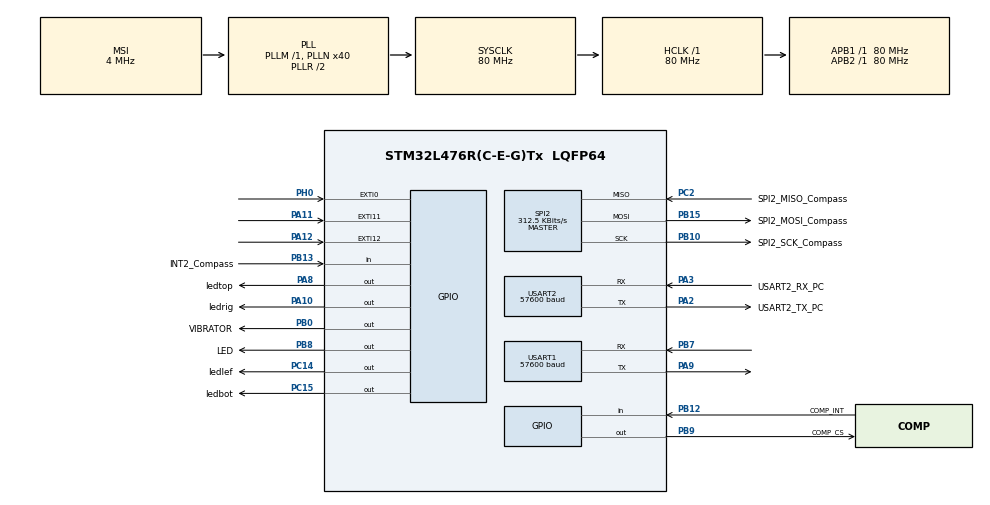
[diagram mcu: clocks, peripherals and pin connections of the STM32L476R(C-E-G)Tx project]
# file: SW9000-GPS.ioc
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FREERTOS.Tasks01=defaultTask,0,256,StartDefaultTask,Default;rLEDTask,0,128,StartRLEDTask,Default;lLEDTask,0,128,StartLLEDTask,Default;bLEDTask,0,128,StartBLEDTask,Default;tLEDTask,0,128,StartTLEDTask,Default
FREERTOS.configMINIMAL_STACK_SIZE=128
FREERTOS.configTOTAL_HEAP_SIZE=4000
Mcu.Family=STM32L4
Mcu.Name=STM32L476R(C-E-G)Tx
Mcu.Package=LQFP64
NVIC.PriorityGroup=NVIC_PRIORITYGROUP_4
NVIC.TIM1_UP_TIM16_IRQn=true\:0\:0\:false\:false\:true
NVIC.TimeBase=TIM1_UP_TIM16_IRQn
NVIC.TimeBaseIP=TIM1
PA10.GPIO_Label=ledrig
PA10.Signal=GPIO_Output
PA11.Signal=GPXTI11
PA12.Signal=GPXTI12
PA13.Mode=Serial-Wire
PA13.Signal=SYS_JTMS-SWDIO
PA14.Mode=Serial-Wire
PA14.Signal=SYS_JTCK-SWCLK
PA2.GPIO_Label=USART2_TX_PC
PA2.Mode=Asynchronous
PA2.Signal=USART2_TX
PA3.GPIO_Label=USART2_RX_PC
PA3.Mode=Asynchronous
PA3.Signal=USART2_RX
PA8.GPIO_Label=ledtop
PA8.Signal=GPIO_Output
PA9.Mode=Asynchronous
PA9.Signal=USART1_TX
PB0.GPIO_Label=VIBRATOR
PB0.Signal=GPIO_Output
PB10.GPIO_Label=SPI2_SCK_Compass
PB10.Mode=Full_Duplex_Master
PB10.Signal=SPI2_SCK
PB12.GPIO_Label=COMP_INT
PB12.Signal=GPIO_Input
PB13.GPIO_Label=INT2_Compass
PB13.Signal=GPIO_Input
PB15.GPIO_Label=SPI2_MOSI_Compass
PB15.Mode=Full_Duplex_Master
PB15.Signal=SPI2_MOSI
PB7.Mode=Asynchronous
PB7.Signal=USART1_RX
PB8.GPIO_Label=LED
PB8.Signal=GPIO_Output
PB9.GPIO_Label=COMP_CS
PB9.Signal=GPIO_Output
PC13.Mode=SYS-WakeUp2
PC13.Signal=SYS_WKUP2
PC14/OSC32_IN.GPIO_Label=ledlef
PC14/OSC32_IN.Signal=GPIO_Output
PC15/OSC32_OUT.GPIO_Label=ledbot
PC15/OSC32_OUT.Signal=GPIO_Output
PC2.GPIO_Label=SPI2_MISO_Compass
PC2.Mode=Full_Duplex_Master
PC2.Signal=SPI2_MISO
PH0/OSC_IN.Signal=GPXTI0
ProjectManager.HeapSize=0x800
ProjectManager.StackSize=0x400
ProjectManager.TargetToolchain=EWARM
RCC.ADCFreq_Value=32000000
RCC.AHBFreq_Value=80000000
RCC.APB1Freq_Value=80000000
RCC.APB1TimFreq_Value=80000000
RCC.APB2Freq_Value=80000000
RCC.APB2TimFreq_Value=80000000
RCC.CortexFreq_Value=80000000
RCC.HCLKFreq_Value=80000000
RCC.HSE_VALUE=8000000
RCC.HSI_VALUE=16000000
RCC.LSE_VALUE=32768
RCC.MSI_VALUE=4000000
RCC.PLLN=40
RCC.PLLSAI1N=16
RCC.SYSCLKFreq_VALUE=80000000
RCC.SYSCLKSource=RCC_SYSCLKSOURCE_PLLCLK
RCC.USBFreq_Value=32000000
RCC.VCOOutputFreq_Value=160000000
SPI2.BaudRatePrescaler=SPI_BAUDRATEPRESCALER_256
SPI2.CLKPhase=SPI_PHASE_2EDGE
SPI2.CLKPolarity=SPI_POLARITY_HIGH
SPI2.CalculateBaudRate=312.5 KBits/s
SPI2.DataSize=SPI_DATASIZE_8BIT
SPI2.Mode=SPI_MODE_MASTER
USART1.BaudRate=57600
USART1.WordLength=UART_WORDLENGTH_8B
USART2.BaudRate=57600
USART2.WordLength=UART_WORDLENGTH_8B
VP_FREERTOS_VS_ENABLE.Mode=Enabled
VP_SYS_VS_tim1.Mode=TIM1
board=SW9000

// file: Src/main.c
/**
  ******************************************************************************
  * File Name          : main.c
  * Description        : Main program body
  ******************************************************************************
  *
  * COPYRIGHT(c) 2016 STMicroelectronics
  *
  * Redistribution and use in source and binary forms, with or without modification,
  * are permitted provided that the following conditions are met:
  *   1. Redistributions of source code must retain the above copyright notice,
  *      this list of conditions and the following disclaimer.
  *   2. Redistributions in binary form must reproduce the above copyright notice,
  *      this list of conditions and the following disclaimer in the documentation
  *      and/or other materials provided with the distribution.
  *   3. Neither the name of STMicroelectronics nor the names of its contributors
  *      may be used to endorse or promote products derived from this software
  *      without specific prior written permission.
  *
  * THIS SOFTWARE IS PROVIDED BY THE COPYRIGHT HOLDERS AND CONTRIBUTORS "AS IS"
  * AND ANY EXPRESS OR IMPLIED WARRANTIES, INCLUDING, BUT NOT LIMITED TO, THE
  * IMPLIED WARRANTIES OF MERCHANTABILITY AND FITNESS FOR A PARTICULAR PURPOSE ARE
  * DISCLAIMED. IN NO EVENT SHALL THE COPYRIGHT HOLDER OR CONTRIBUTORS BE LIABLE
  * FOR ANY DIRECT, INDIRECT, INCIDENTAL, SPECIAL, EXEMPLARY, OR CONSEQUENTIAL
  * DAMAGES (INCLUDING, BUT NOT LIMITED TO, PROCUREMENT OF SUBSTITUTE GOODS OR
  * SERVICES; LOSS OF USE, DATA, OR PROFITS; OR BUSINESS INTERRUPTION) HOWEVER
  * CAUSED AND ON ANY THEORY OF LIABILITY, WHETHER IN CONTRACT, STRICT LIABILITY,
  * OR TORT (INCLUDING NEGLIGENCE OR OTHERWISE) ARISING IN ANY WAY OUT OF THE USE
  * OF THIS SOFTWARE, EVEN IF ADVISED OF THE POSSIBILITY OF SUCH DAMAGE.
  *
  ******************************************************************************
  */
#include "stm32l4xx_hal.h"
#include "cmsis_os.h"

SPI_HandleTypeDef hspi2;

UART_HandleTypeDef huart1;
UART_HandleTypeDef huart2;

osThreadId defaultTaskHandle;
osThreadId rLEDTaskHandle;
osThreadId lLEDTaskHandle;
osThreadId bLEDTaskHandle;
osThreadId tLEDTaskHandle;

/* USER CODE BEGIN PV */
/* Private variables ---------------------------------------------------------*/
/* USER CODE END PV */

void SystemClock_Config(void);
static void MX_GPIO_Init(void);
static void MX_USART2_UART_Init(void);
static void MX_SPI2_Init(void);
static void MX_USART1_UART_Init(void);
void StartDefaultTask(void const * argument);
void StartRLEDTask(void const * argument);
void StartLLEDTask(void const * argument);
void StartBLEDTask(void const * argument);
void StartTLEDTask(void const * argument);

/* USER CODE BEGIN PFP */
/* Private function prototypes -----------------------------------------------*/
/* USER CODE END PFP */

int main(void)
{

  /* MCU Configuration----------------------------------------------------------*/

  /* Reset of all peripherals, Initializes the Flash interface and the Systick. */
  HAL_Init();

  /* Configure the system clock */
  SystemClock_Config();

  /* Initialize all configured peripherals */
  MX_GPIO_Init();
  MX_USART2_UART_Init();
  MX_SPI2_Init();
  MX_USART1_UART_Init();

  /* Create the thread(s) */
  /* definition and creation of defaultTask */
  osThreadDef(defaultTask, StartDefaultTask, osPriorityNormal, 0, 256);
  defaultTaskHandle = osThreadCreate(osThread(defaultTask), NULL);

  /* definition and creation of rLEDTask */
  osThreadDef(rLEDTask, StartRLEDTask, osPriorityNormal, 0, 128);
  rLEDTaskHandle = osThreadCreate(osThread(rLEDTask), NULL);

  /* definition and creation of lLEDTask */
  osThreadDef(lLEDTask, StartLLEDTask, osPriorityNormal, 0, 128);
  lLEDTaskHandle = osThreadCreate(osThread(lLEDTask), NULL);

  /* definition and creation of bLEDTask */
  osThreadDef(bLEDTask, StartBLEDTask, osPriorityNormal, 0, 128);
  bLEDTaskHandle = osThreadCreate(osThread(bLEDTask), NULL);

  /* definition and creation of tLEDTask */
  osThreadDef(tLEDTask, StartTLEDTask, osPriorityNormal, 0, 128);
  tLEDTaskHandle = osThreadCreate(osThread(tLEDTask), NULL);

  /* Start scheduler */
  osKernelStart();

  /* We should never get here as control is now taken by the scheduler */

  /* Infinite loop */
  while (1)
  {

  }

}

/** System Clock Configuration
*/
void SystemClock_Config(void)
{

  RCC_OscInitTypeDef RCC_OscInitStruct;
  RCC_ClkInitTypeDef RCC_ClkInitStruct;
  RCC_PeriphCLKInitTypeDef PeriphClkInit;

  RCC_OscInitStruct.OscillatorType = RCC_OSCILLATORTYPE_MSI;
  RCC_OscInitStruct.MSIState = RCC_MSI_ON;
  RCC_OscInitStruct.MSICalibrationValue = 0;
  RCC_OscInitStruct.MSIClockRange = RCC_MSIRANGE_6;
  RCC_OscInitStruct.PLL.PLLState = RCC_PLL_ON;
  RCC_OscInitStruct.PLL.PLLSource = RCC_PLLSOURCE_MSI;
  RCC_OscInitStruct.PLL.PLLM = 1;
  RCC_OscInitStruct.PLL.PLLN = 40;
  RCC_OscInitStruct.PLL.PLLP = RCC_PLLP_DIV7;
  RCC_OscInitStruct.PLL.PLLQ = RCC_PLLQ_DIV2;
  RCC_OscInitStruct.PLL.PLLR = RCC_PLLR_DIV2;
  HAL_RCC_OscConfig(&RCC_OscInitStruct);

  RCC_ClkInitStruct.ClockType = RCC_CLOCKTYPE_HCLK|RCC_CLOCKTYPE_SYSCLK
                              |RCC_CLOCKTYPE_PCLK1|RCC_CLOCKTYPE_PCLK2;
  RCC_ClkInitStruct.SYSCLKSource = RCC_SYSCLKSOURCE_PLLCLK;
  RCC_ClkInitStruct.AHBCLKDivider = RCC_SYSCLK_DIV1;
  RCC_ClkInitStruct.APB1CLKDivider = RCC_HCLK_DIV1;
  RCC_ClkInitStruct.APB2CLKDivider = RCC_HCLK_DIV1;
  HAL_RCC_ClockConfig(&RCC_ClkInitStruct, FLASH_LATENCY_4);

  PeriphClkInit.PeriphClockSelection = RCC_PERIPHCLK_USART1|RCC_PERIPHCLK_USART2;
  PeriphClkInit.Usart1ClockSelection = RCC_USART1CLKSOURCE_PCLK2;
  PeriphClkInit.Usart2ClockSelection = RCC_USART2CLKSOURCE_PCLK1;
  HAL_RCCEx_PeriphCLKConfig(&PeriphClkInit);

  __HAL_RCC_PWR_CLK_ENABLE();

  HAL_PWREx_ControlVoltageScaling(PWR_REGULATOR_VOLTAGE_SCALE1);

  HAL_SYSTICK_Config(HAL_RCC_GetHCLKFreq()/1000);

  HAL_SYSTICK_CLKSourceConfig(SYSTICK_CLKSOURCE_HCLK);

  /* SysTick_IRQn interrupt configuration */
  HAL_NVIC_SetPriority(SysTick_IRQn, 15, 0);
}

/* SPI2 init function */
void MX_SPI2_Init(void)
{

  hspi2.Instance = SPI2;
  hspi2.Init.Mode = SPI_MODE_MASTER;
  hspi2.Init.Direction = SPI_DIRECTION_2LINES;
  hspi2.Init.DataSize = SPI_DATASIZE_8BIT;
  hspi2.Init.CLKPolarity = SPI_POLARITY_HIGH;
  hspi2.Init.CLKPhase = SPI_PHASE_2EDGE;
  hspi2.Init.NSS = SPI_NSS_SOFT;
  hspi2.Init.BaudRatePrescaler = SPI_BAUDRATEPRESCALER_256;
  hspi2.Init.FirstBit = SPI_FIRSTBIT_MSB;
  hspi2.Init.TIMode = SPI_TIMODE_DISABLE;
  hspi2.Init.CRCCalculation = SPI_CRCCALCULATION_DISABLE;
  hspi2.Init.CRCPolynomial = 7;
  hspi2.Init.CRCLength = SPI_CRC_LENGTH_DATASIZE;
  hspi2.Init.NSSPMode = SPI_NSS_PULSE_DISABLE;
  HAL_SPI_Init(&hspi2);

}

/* USART1 init function */
void MX_USART1_UART_Init(void)
{

  huart1.Instance = USART1;
  huart1.Init.BaudRate = 57600;
  huart1.Init.WordLength = UART_WORDLENGTH_8B;
  huart1.Init.StopBits = UART_STOPBITS_1;
  huart1.Init.Parity = UART_PARITY_NONE;
  huart1.Init.Mode = UART_MODE_TX_RX;
  huart1.Init.HwFlowCtl = UART_HWCONTROL_NONE;
  huart1.Init.OverSampling = UART_OVERSAMPLING_16;
  huart1.Init.OneBitSampling = UART_ONE_BIT_SAMPLE_DISABLE;
  huart1.AdvancedInit.AdvFeatureInit = UART_ADVFEATURE_NO_INIT;
  HAL_UART_Init(&huart1);

}

/* USART2 init function */
void MX_USART2_UART_Init(void)
{

  huart2.Instance = USART2;
  huart2.Init.BaudRate = 57600;
  huart2.Init.WordLength = UART_WORDLENGTH_8B;
  huart2.Init.StopBits = UART_STOPBITS_1;
  huart2.Init.Parity = UART_PARITY_NONE;
  huart2.Init.Mode = UART_MODE_TX_RX;
  huart2.Init.HwFlowCtl = UART_HWCONTROL_NONE;
  huart2.Init.OverSampling = UART_OVERSAMPLING_16;
  huart2.Init.OneBitSampling = UART_ONE_BIT_SAMPLE_DISABLE;
  huart2.AdvancedInit.AdvFeatureInit = UART_ADVFEATURE_NO_INIT;
  HAL_UART_Init(&huart2);

}

/** Configure pins as
        * Analog
        * Input
        * Output
        * EVENT_OUT
        * EXTI
*/
void MX_GPIO_Init(void)
{

  GPIO_InitTypeDef GPIO_InitStruct;

  /* GPIO Ports Clock Enable */
  __HAL_RCC_GPIOC_CLK_ENABLE();
  __HAL_RCC_GPIOH_CLK_ENABLE();
  __HAL_RCC_GPIOA_CLK_ENABLE();
  __HAL_RCC_GPIOB_CLK_ENABLE();

  /*Configure GPIO pin Output Level */
  HAL_GPIO_WritePin(GPIOC, ledlef_Pin|ledbot_Pin, GPIO_PIN_RESET);

  /*Configure GPIO pin Output Level */
  HAL_GPIO_WritePin(GPIOB, VIBRATOR_Pin|LED_Pin|COMP_CS_Pin, GPIO_PIN_RESET);

  /*Configure GPIO pin Output Level */
  HAL_GPIO_WritePin(GPIOA, ledtop_Pin|ledrig_Pin, GPIO_PIN_RESET);

  /*Configure GPIO pins : ledlef_Pin ledbot_Pin */
  GPIO_InitStruct.Pin = ledlef_Pin|ledbot_Pin;
  GPIO_InitStruct.Mode = GPIO_MODE_OUTPUT_PP;
  GPIO_InitStruct.Pull = GPIO_NOPULL;
  GPIO_InitStruct.Speed = GPIO_SPEED_FREQ_LOW;
  HAL_GPIO_Init(GPIOC, &GPIO_InitStruct);

  /*Configure GPIO pin : PH0 */
  GPIO_InitStruct.Pin = GPIO_PIN_0;
  GPIO_InitStruct.Mode = GPIO_MODE_IT_RISING;
  GPIO_InitStruct.Pull = GPIO_NOPULL;
  HAL_GPIO_Init(GPIOH, &GPIO_InitStruct);

  /*Configure GPIO pins : VIBRATOR_Pin LED_Pin COMP_CS_Pin */
  GPIO_InitStruct.Pin = VIBRATOR_Pin|LED_Pin|COMP_CS_Pin;
  GPIO_InitStruct.Mode = GPIO_MODE_OUTPUT_PP;
  GPIO_InitStruct.Pull = GPIO_NOPULL;
  GPIO_InitStruct.Speed = GPIO_SPEED_FREQ_LOW;
  HAL_GPIO_Init(GPIOB, &GPIO_InitStruct);

  /*Configure GPIO pins : COMP_INT_Pin INT2_Compass_Pin */
  GPIO_InitStruct.Pin = COMP_INT_Pin|INT2_Compass_Pin;
  GPIO_InitStruct.Mode = GPIO_MODE_INPUT;
  GPIO_InitStruct.Pull = GPIO_NOPULL;
  HAL_GPIO_Init(GPIOB, &GPIO_InitStruct);

  /*Configure GPIO pins : ledtop_Pin ledrig_Pin */
  GPIO_InitStruct.Pin = ledtop_Pin|ledrig_Pin;
  GPIO_InitStruct.Mode = GPIO_MODE_OUTPUT_PP;
  GPIO_InitStruct.Pull = GPIO_NOPULL;
  GPIO_InitStruct.Speed = GPIO_SPEED_FREQ_LOW;
  HAL_GPIO_Init(GPIOA, &GPIO_InitStruct);

  /*Configure GPIO pins : PA11 PA12 */
  GPIO_InitStruct.Pin = GPIO_PIN_11|GPIO_PIN_12;
  GPIO_InitStruct.Mode = GPIO_MODE_IT_RISING;
  GPIO_InitStruct.Pull = GPIO_NOPULL;
  HAL_GPIO_Init(GPIOA, &GPIO_InitStruct);

}

/* StartDefaultTask function */
void StartDefaultTask(void const * argument)
{

  /* USER CODE BEGIN 5 */
  /* Infinite loop */
  for(;;)
  {

    osDelay(300);
  }
  /* USER CODE END 5 */
}

/* StartRLEDTask function */
void StartRLEDTask(void const * argument)
{
  /* USER CODE BEGIN StartRLEDTask */
  /* Infinite loop */
  for(;;)
  {

  for(uint8_t i = 0; i < 50; i++)
  {
  	HAL_GPIO_WritePin(ledrig_GPIO_Port, ledrig_Pin, GPIO_PIN_RESET);
  	osDelay(100);
  	HAL_GPIO_WritePin(ledrig_GPIO_Port, ledrig_Pin, GPIO_PIN_SET);
  	osDelay(100);
  }
  //osThreadSuspend(rLEDTaskHandle);

    osDelay(3000);
  }
  /* USER CODE END StartRLEDTask */
}

/* StartLLEDTask function */
void StartLLEDTask(void const * argument)
{
  /* USER CODE BEGIN StartLLEDTask */
  /* Infinite loop */
  for(;;)
  {

  for(uint8_t i = 0; i < 50; i++)
  {
  	HAL_GPIO_WritePin(ledlef_GPIO_Port, ledlef_Pin, GPIO_PIN_RESET);
  	osDelay(100);
  	HAL_GPIO_WritePin(ledlef_GPIO_Port, ledlef_Pin, GPIO_PIN_SET);
  	osDelay(100);
  }
  //osThreadSuspend(lLEDTaskHandle);

    osDelay(3000);
  }
  /* USER CODE END StartLLEDTask */
}

/* StartBLEDTask function */
void StartBLEDTask(void const * argument)
{
  /* USER CODE BEGIN StartBLEDTask */
  /* Infinite loop */
  for(;;)
  {

  for(uint8_t i = 0; i < 50; i++)
  {
  	HAL_GPIO_WritePin(ledbot_GPIO_Port, ledbot_Pin, GPIO_PIN_RESET);
  	osDelay(100);
  	HAL_GPIO_WritePin(ledbot_GPIO_Port, ledbot_Pin, GPIO_PIN_SET);
  	osDelay(100);
  }
  //osThreadSuspend(bLEDTaskHandle);

    osDelay(300);
  }
  /* USER CODE END StartBLEDTask */
}

/* StartTLEDTask function */
void StartTLEDTask(void const * argument)
{
  /* USER CODE BEGIN StartTLEDTask */
  /* Infinite loop */
  for(;;)
  {

  for(uint8_t i = 0; i < 50; i++)
  {
  	HAL_GPIO_WritePin(ledtop_GPIO_Port, ledtop_Pin, GPIO_PIN_RESET);
  	osDelay(100);
  	HAL_GPIO_WritePin(ledtop_GPIO_Port, ledtop_Pin, GPIO_PIN_SET);
  	osDelay(100);
  }
  //osThreadSuspend(tLEDTaskHandle);

    osDelay(3000);
  }
  /* USER CODE END StartTLEDTask */
}

/************************ (C) COPYRIGHT STMicroelectronics *****END OF FILE****/
